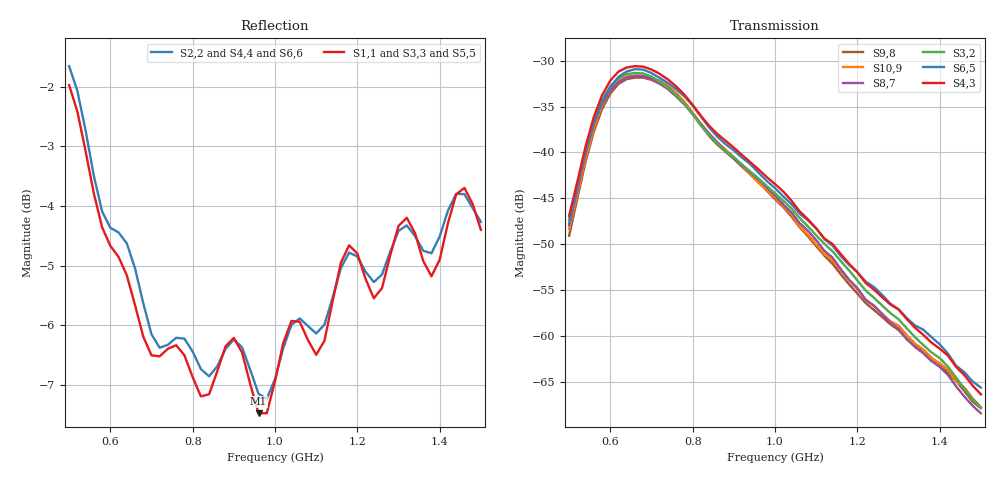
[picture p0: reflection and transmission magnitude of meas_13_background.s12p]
! Converted from meas_13_background.mat
! MATLAB 5.0 MAT-file, Platform: PCWIN64, Created on: Sat Nov 21 15:24:18 2026
! Ports 1-12 = antennas 1-12; IFBW=1000 Hz, power=0 dBm, doCalibration flag=1
! SW_A serial 12410080206: antennas 1 3 5 7 9 11
! SW_B serial 12410080235: antennas 2 4 6 8 10 12
! WARNING: Sij (i!=j) between two odd or two even ports was NOT MEASURED (NaN in source).
! Those entries are written as 0 0 placeholders. Do not treat them as data.
! Reference impedance 50 ohm is assumed (not stored in source).
# Hz S RI R 50
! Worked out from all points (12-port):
!   51 points, 500 MHz to 1.5 GHz, reference 50 ohm
!   strongest paths, dB at 500 MHz, 740 MHz, 1 GHz, 1.26 GHz, 1.5 GHz:
!     S4,3: -46.9, -32.1, -43.5, -55.8, -66.4
!     S6,5: -47.8, -32.4, -43.9, -55.5, -65.7
!     S3,2: -47.3, -33.0, -44.5, -56.7, -67.8
!     S8,7: -47.9, -33.1, -44.7, -57.6, -68.5
!     S10,9: -48.4, -32.7, -44.9, -57.6, -67.8
!     S9,8: -49.1, -33.0, -45.1, -57.9, -67.9
!   lowest |S11| = -7.5 dB at 960 MHz (marker M1), VSWR 2.47, Z = 24.3 - j20 ohm
!   |S11| at or under -10 dB: nowhere
